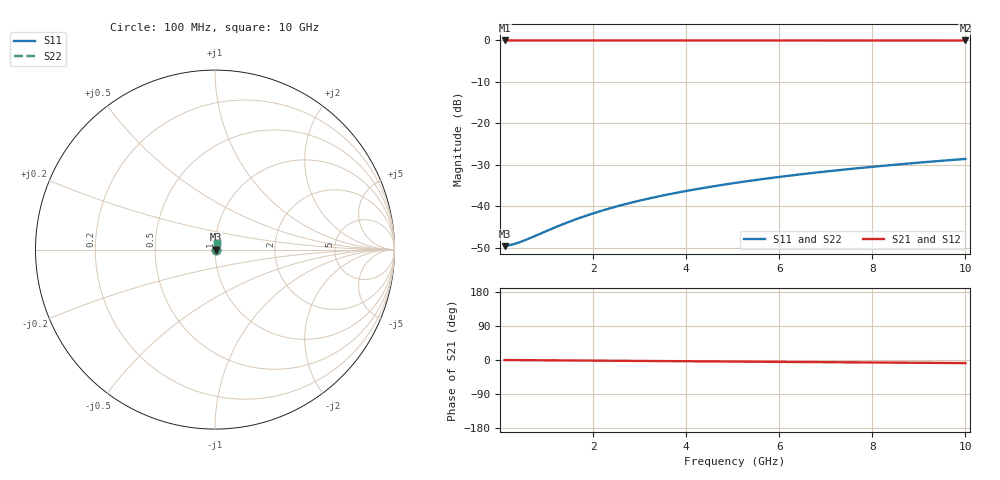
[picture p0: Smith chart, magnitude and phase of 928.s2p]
# Hz S RI R 50.00
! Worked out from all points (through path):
!   100 points, 100 MHz to 10 GHz, reference 50 ohm
!   highest |S21| = -0.03 dB at 100 MHz (marker M1); lowest = 0.0 dB at 10 GHz (marker M2)
!   group delay of S21, straight-line fit = 2.27 ps
!   lowest |S11| = -49.7 dB at 100 MHz (marker M3), VSWR 1.01, Z = 50.3 + j0.0369 ohm
!   |S11| at or under -10 dB: start of sweep to end of sweep
!   |S22| runs from -49.7 to -28.6 dB; largest |S21 - S12| = 0
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1e8  0.00327 0.000366  0.9967 -0.00142  0.9967 -0.00142  0.00327 0.000366
2e8  0.00329 0.000733  0.9967 -0.00285  0.9967 -0.00285  0.00329 0.000733
3e8  0.00331 0.0011  0.9967 -0.00427  0.9967 -0.00427  0.00331 0.0011
5e8  0.00334 0.00183  0.9966 -0.00712  0.9966 -0.00712  0.00334 0.00183
7e8  0.00337 0.00256  0.9966 -0.00997  0.9966 -0.00997  0.00337 0.00256
1.3e9  0.00347 0.00476  0.9964 -0.0185  0.9964 -0.0185  0.00347 0.00476
1.5e9  0.00351 0.00549  0.9963 -0.0214  0.9963 -0.0214  0.00351 0.00549
1.8e9  0.00358 0.00659  0.9962 -0.0256  0.9962 -0.0256  0.00358 0.00659
2.1e9  0.00365 0.00768  0.9961 -0.0299  0.9961 -0.0299  0.00365 0.00768
2.5e9  0.00376 0.00914  0.9959 -0.0356  0.9959 -0.0356  0.00376 0.00914
2.9e9  0.00389 0.0106  0.9956 -0.0413  0.9956 -0.0413  0.00389 0.0106
3.4e9  0.00407 0.0124  0.9952 -0.0484  0.9952 -0.0484  0.00407 0.0124
3.8e9  0.00424 0.0139  0.9949 -0.0541  0.9949 -0.0541  0.00424 0.0139
4.2e9  0.00442 0.0153  0.9946 -0.0598  0.9946 -0.0598  0.00442 0.0153
4.6e9  0.00461 0.0168  0.9942 -0.0654  0.9942 -0.0654  0.00461 0.0168
5.1e9  0.00488 0.0186  0.9936 -0.0725  0.9936 -0.0725  0.00488 0.0186
5.9e9  0.00536 0.0215  0.9926 -0.0839  0.9926 -0.0839  0.00536 0.0215
6.7e9  0.00591 0.0244  0.9915 -0.0952  0.9915 -0.0952  0.00591 0.0244
7.5e9  0.00652 0.0272  0.9903 -0.1065  0.9903 -0.1065  0.00652 0.0272
8.4e9  0.00729 0.0304  0.9887 -0.1192  0.9887 -0.1192  0.00729 0.0304
9.2e9  0.00804 0.0332  0.9871 -0.1305  0.9871 -0.1305  0.00804 0.0332
1e10  0.00885 0.036  0.9854 -0.1418  0.9854 -0.1418  0.00885 0.036
